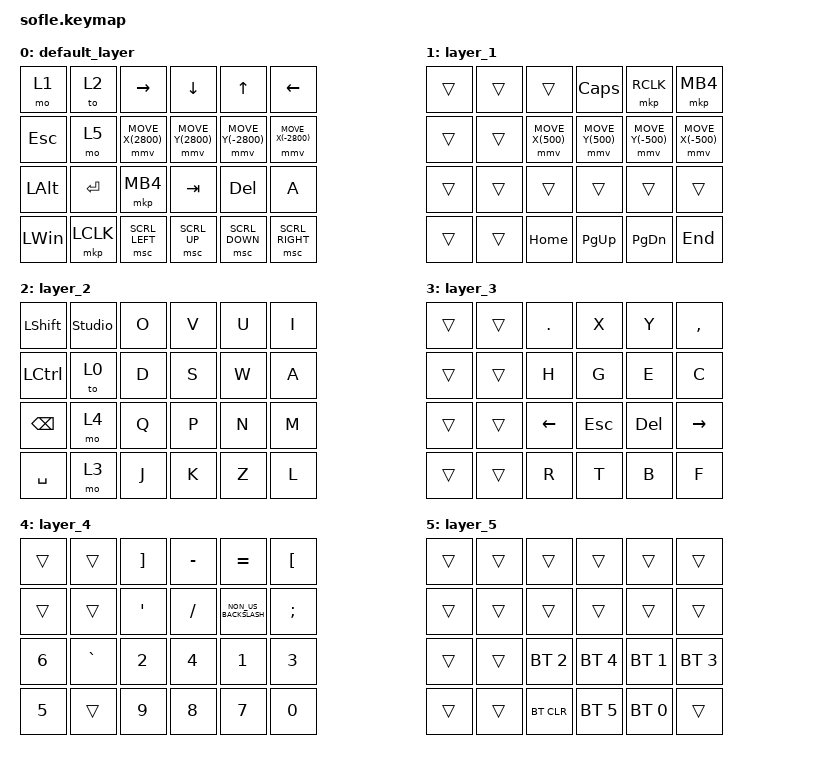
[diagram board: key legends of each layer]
/*
 * Copyright (c) 2020 The ZMK Contributors
 *
 * SPDX-License-Identifier: MIT
 */
// #define ZMK_POINTING_DEFAULT_MOVE_VAL 400  
// default: 600
// #define ZMK_POINTING_DEFAULT_SCRL_VAL 20    
// default: 10

#include <behaviors.dtsi>
#include <dt-bindings/zmk/bt.h>
#include <dt-bindings/zmk/keys.h>
#include <dt-bindings/zmk/pointing.h>

/ {
    // Activate ADJUST layer by pressing raise and lower

    conditional_layers {
        compatible = "zmk,conditional-layers";

        adjust_layer {
            if-layers = <0 0>;
            then-layer = <0>;
        };
    };

    behaviors {
        skq: sticky_key_quick_release {
            compatible = "zmk,behavior-sticky-key";
            #binding-cells = <1>;
            bindings = <&kp>;
            release-after-ms = <2000>;
        };
    };

    keymap {
        compatible = "zmk,keymap";

        default_layer {
            bindings = <
&mo 1         &to 2      &kp RIGHT_ARROW  &kp DOWN_ARROW  &kp UP_ARROW  &kp LEFT_ARROW        &kp ESCAPE    &mo 5      &mmv MOVE_X(2800)  &mmv MOVE_Y(2800)  &mmv MOVE_Y(-2800)  &mmv MOVE_X(-2800)
&kp LEFT_ALT  &kp ENTER  &mkp MB4         &kp TAB         &kp DELETE    &kp A                 &kp LEFT_WIN  &mkp LCLK  &msc SCRL_LEFT     &msc SCRL_UP       &msc SCRL_DOWN      &msc SCRL_RIGHT
            >;
        };

        layer_1 {
            bindings = <
&trans  &trans  &trans  &kp CAPS  &mkp RCLK  &mkp MB4        &trans  &trans  &mmv MOVE_X(500)  &mmv MOVE_Y(500)  &mmv MOVE_Y(-500)  &mmv MOVE_X(-500)
&trans  &trans  &trans  &trans    &trans     &trans          &trans  &trans  &kp HOME          &kp PAGE_UP       &kp PAGE_DOWN      &kp END
            >;
        };

        layer_2 {
            bindings = <
&kp LEFT_SHIFT  &studio_unlock  &kp O  &kp V  &kp U  &kp I        &kp LCTRL  &to 0  &kp D  &kp S  &kp W  &kp A
&kp BACKSPACE   &mo 4           &kp Q  &kp P  &kp N  &kp M        &kp SPACE  &mo 3  &kp J  &kp K  &kp Z  &kp L
            >;
        };

        layer_3 {
            bindings = <
&trans  &trans  &kp PERIOD      &kp X         &kp Y           &kp COMMA        &trans  &trans  &kp H  &kp G  &kp E  &kp C        
&trans  &trans  &kp LEFT_ARROW  &kp ESCAPE    &kp DELETE      &kp RIGHT_ARROW  &trans  &trans  &kp R  &kp T  &kp B  &kp F        
            >;
        };

        layer_4 {
            bindings = <
&trans        &trans     &kp RIGHT_BRACKET  &kp MINUS     &kp EQUAL     &kp LEFT_BRACKET        &trans        &trans  &kp SQT       &kp SLASH     &kp NON_US_BACKSLASH  &kp SEMICOLON
&kp NUMBER_6  &kp GRAVE  &kp NUMBER_2  &kp NUMBER_4  &kp NUMBER_1          &kp NUMBER_3         &kp NUMBER_5  &trans  &kp NUMBER_9       &kp NUMBER_8  &kp NUMBER_7  &kp NUMBER_0    
            >;
        };

        layer_5 {
            bindings = <
&trans  &trans  &trans      &trans        &trans        &trans         &trans  &trans  &trans        &trans        &trans        &trans
&trans  &trans  &bt BT_SEL 2  &bt BT_SEL 4  &bt BT_SEL 1  &bt BT_SEL 3 &trans  &trans  &bt BT_CLR  &bt BT_SEL 5  &bt BT_SEL 0  &trans        
            >;
        };
    };
};
